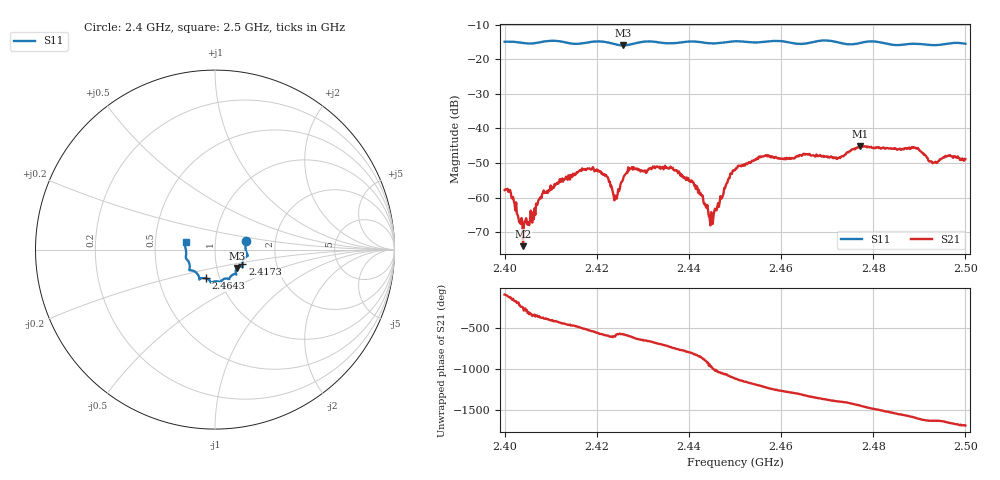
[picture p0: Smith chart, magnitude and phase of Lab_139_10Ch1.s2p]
# Hz S RI R 50
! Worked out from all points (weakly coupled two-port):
!   601 points, 2.4 GHz to 2.5 GHz, reference 50 ohm
!   highest |S21| = -45.12 dB at 2.4772 GHz (marker M1); lowest = -74.1 dB at 2.404 GHz (marker M2)
!   lowest |S11| = -15.9 dB at 2.4257 GHz (marker M3), VSWR 1.38, Z = 62.4 - j13.1 ohm
!   |S11| at or under -10 dB: start of sweep to end of sweep
!   S12 and S22 are empty: the file has one direction only
!   S11 on the Smith chart (normalised r, x): 2.4 GHz: 1.41, +0.15; 2.4173 GHz: 1.34, -0.23; 2.4643 GHz: 0.86, -0.28; 2.5 GHz: 0.72, +0.06
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2.4e9  0.1733 0.05  3.37e-05 -0.00128  0 0  0 0
2.4015e9  0.1758 0.0439  -0.000769 -0.000627  0 0  0 0
2.404e9  0.1717 0.0252  -8.32e-05 0.000179  0 0  0 0
2.408667e9  0.1806 -0.0264  0.00106 -0.000471  0 0  0 0
2.416667e9  0.1531 -0.0748  -0.00181 -0.00162  0 0  0 0
2.417333e9  0.1524 -0.0823  -0.00219 -0.00137  0 0  0 0
2.422e9  0.1516 -0.0944  -0.00148 0.00152  0 0  0 0
2.424e9  0.1362 -0.0942  -0.000505 0.000941  0 0  0 0
2.425667e9  0.1226 -0.1023  -0.00156 0.000913  0 0  0 0
2.427333e9  0.1157 -0.1174  -0.00132 0.00227  0 0  0 0
2.433333e9  0.1128 -0.1365  0.00235 0.00145  0 0  0 0
2.440833e9  0.0785 -0.1648  7.59e-06 -0.00166  0 0  0 0
2.444833e9  0.0566 -0.1615  -0.000246 0.000563  0 0  0 0
2.45e9  0.0297 -0.1808  0.00204 -0.00141  0 0  0 0
2.464333e9  -0.05 -0.1603  -0.00281 0.00297  0 0  0 0
2.466667e9  -0.0761 -0.1598  -0.000816 0.00399  0 0  0 0
2.472333e9  -0.0886 -0.1534  0.00257 0.00266  0 0  0 0
2.477167e9  -0.1284 -0.1165  0.00552 -0.000491  0 0  0 0
2.483333e9  -0.1409 -0.0893  0.000666 -0.00512  0 0  0 0
2.489333e9  -0.1627 -0.0445  -0.0047 -0.00201  0 0  0 0
2.493333e9  -0.1611 -0.00999  -0.00319 0.000549  0 0  0 0
2.5e9  -0.1635 0.042  -0.0014 0.00332  0 0  0 0
